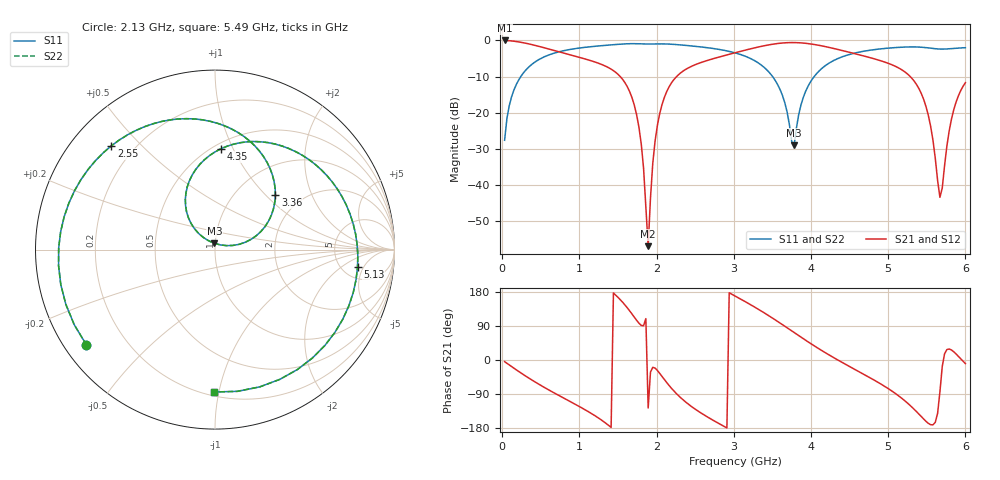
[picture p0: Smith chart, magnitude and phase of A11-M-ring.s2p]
! yapnr Order 0 O0-M: O0-M A11 RING M (ring, family M)
! stackup OSHPARK-4L-EM528, nominal parameters; geometry of the OSHPARK-4L-FR408HR design
! model: 2D quasi-static RLGC (Djordjevic-Sarkar, Huray roughness, Wheeler loss); generated by python -m yapnr.rf.coupons expected --stackup OSHPARK-4L-FR408HR --upload M
! reference planes 10 mm from each end; 50 ohm (from the M line's Zc)
# GHz S DB R 50
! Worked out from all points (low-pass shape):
!   200 points, 30 MHz to 6 GHz, reference 50 ohm
!   highest |S21| = -0.02 dB at 30 MHz (marker M1); lowest = -56.9 dB at 1.89 GHz (marker M2)
!   |S21| within 3 dB of the highest: start of sweep to 712.2 MHz; 3.088 GHz to 4.446 GHz (1.358 GHz wide, 36 % of centre)
!   lowest |S11| = -29.0 dB at 3.78 GHz (marker M3), VSWR 1.07, Z = 49.5 + j3.48 ohm
!   |S11| at or under -10 dB: start of sweep to 239.7 MHz; 3.502 GHz to 4.041 GHz (539.4 MHz wide, 14.3 % of centre)
!   |S22| runs from -29.0 to -0.9 dB; largest |S21 - S12| = 0
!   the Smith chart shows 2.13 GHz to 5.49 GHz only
!   S11 on the Smith chart (normalised r, x): 2.13 GHz: 0.06, -0.33; 2.55 GHz: 0.12, +0.41; 3.36 GHz: 1.50, +1.14; 4.35 GHz: 0.55, +0.90; 5.13 GHz: 6.89, -3.79; 5.49 GHz: 0.22, -0.96
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0.03  -27.61 -92.9  -0.02 -4.4  -0.02 -4.4  -27.61 -92.9
0.3  -8.32 -131.8  -0.77 -42.1  -0.77 -42.1  -8.32 -131.8
1.05  -1.97 141.0  -4.99 -128.7  -4.99 -128.7  -1.97 141.0
1.44  -1.19 85.2  -8.37 176.7  -8.37 176.7  -1.19 85.2
1.68  -0.91 25.1  -15.82 121.6  -15.82 121.6  -0.91 25.1
1.8  -0.96 -18.6  -28.58 91.2  -28.58 91.2  -0.96 -18.6
1.89  -1.01 -55.5  -56.88 -126.8  -56.88 -126.8  -1.01 -55.5
1.95  -1.00 -80.0  -33.88 -19.3  -33.88 -19.3  -1.00 -80.0
2.04  -0.97 -114.2  -20.20 -35.3  -20.20 -35.3  -0.97 -114.2
2.13  -0.99 -143.4  -14.16 -59.4  -14.16 -59.4  -0.99 -143.4
2.55  -1.75 134.9  -6.30 -136.7  -6.30 -136.7  -1.75 134.9
3.03  -3.53 79.1  -3.34 167.3  -3.34 167.3  -3.53 79.1
3.36  -6.89 41.9  -1.63 128.6  -1.63 128.6  -6.89 41.9
3.78  -29.05 95.9  -0.61 72.6  -0.61 72.6  -29.05 95.9
4.02  -10.60 123.8  -1.06 40.1  -1.06 40.1  -10.60 123.8
4.35  -4.99 86.6  -2.52 -0.3  -2.52 -0.3  -4.99 86.6
5.01  -2.12 10.7  -6.42 -76.8  -6.42 -76.8  -2.12 10.7
5.13  -1.94 -7.1  -7.56 -93.8  -7.56 -93.8  -1.94 -7.1
5.49  -2.01 -90.6  -18.32 -162.0  -18.32 -162.0  -2.01 -90.6
5.67  -2.40 -158.1  -43.38 -84.1  -43.38 -84.1  -2.40 -158.1
5.82  -2.26 143.6  -21.73 26.3  -21.73 26.3  -2.26 143.6
6  -2.03 88.9  -11.68 -9.5  -11.68 -9.5  -2.03 88.9
